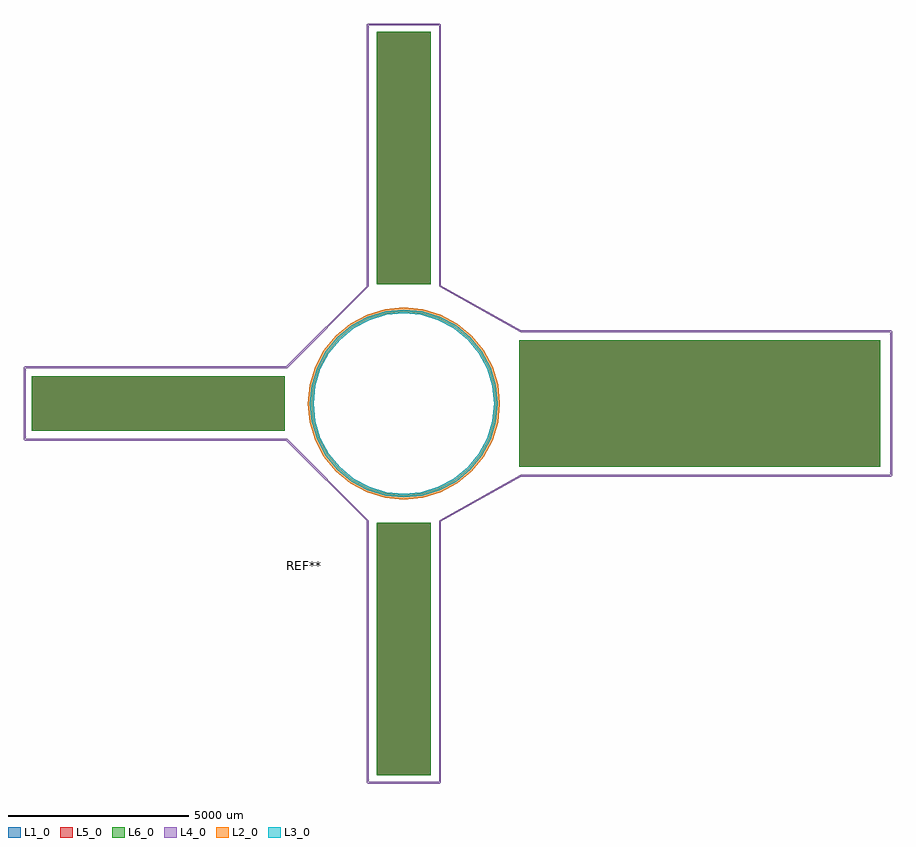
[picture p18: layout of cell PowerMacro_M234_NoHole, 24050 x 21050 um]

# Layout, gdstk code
import gdstk
lib = gdstk.Library(unit=1e-6, precision=1e-09)
def R(c, l, rs):  # rectangles x0, y0, x1, y1
    for r in rs: c.add(gdstk.rectangle(r[:2], r[2:], *l))
L1_0 = (1, 0)
L2_0 = (2, 0)
L3_0 = (3, 0)
L4_0 = (4, 0)
L5_0 = (5, 0)
L6_0 = (6, 0)

powermacro_m234_nohole = lib.new_cell('PowerMacro_M234_NoHole')
R(powermacro_m234_nohole, L1_0, [(-1450,-10300,50,-3300), (2500,-1750,12500,1750), (-11000,-750,-4000,750), (-1450,3300,50,10300)])
R(powermacro_m234_nohole, L5_0, [(-1450,-10300,50,-3300), (2500,-1750,12500,1750), (-11000,-750,-4000,750), (-1450,3300,50,10300)])
R(powermacro_m234_nohole, L6_0, [(-1450,-10300,50,-3300), (2500,-1750,12500,1750), (-11000,-750,-4000,750), (-1450,3300,50,10300)])
powermacro_m234_nohole.add(gdstk.FlexPath([(-11200,1000),(-3950,1000)], 50, ends="flush", simple_path=True, layer=4, datatype=0))  # L4_0
powermacro_m234_nohole.add(gdstk.FlexPath([(-3950,1000),(-1700,3250)], 50, ends="flush", simple_path=True, layer=4, datatype=0))  # L4_0
powermacro_m234_nohole.add(gdstk.FlexPath([(-1700,3250),(-1700,10500)], 50, ends="flush", simple_path=True, layer=4, datatype=0))  # L4_0
powermacro_m234_nohole.add(gdstk.FlexPath([(-1700,10500),(300,10500)], 50, ends="flush", simple_path=True, layer=4, datatype=0))  # L4_0
powermacro_m234_nohole.add(gdstk.FlexPath([(300,10500),(300,3250)], 50, ends="flush", simple_path=True, layer=4, datatype=0))  # L4_0
powermacro_m234_nohole.add(gdstk.FlexPath([(300,3250),(2550,2000)], 50, ends="flush", simple_path=True, layer=4, datatype=0))  # L4_0
powermacro_m234_nohole.add(gdstk.FlexPath([(2550,2000),(12800,2000)], 50, ends="flush", simple_path=True, layer=4, datatype=0))  # L4_0
powermacro_m234_nohole.add(gdstk.FlexPath([(12800,2000),(12800,-2000)], 50, ends="flush", simple_path=True, layer=4, datatype=0))  # L4_0
powermacro_m234_nohole.add(gdstk.FlexPath([(12800,-2000),(2550,-2000)], 50, ends="flush", simple_path=True, layer=4, datatype=0))  # L4_0
powermacro_m234_nohole.add(gdstk.FlexPath([(2550,-2000),(300,-3250)], 50, ends="flush", simple_path=True, layer=4, datatype=0))  # L4_0
powermacro_m234_nohole.add(gdstk.FlexPath([(300,-3250),(300,-10500)], 50, ends="flush", simple_path=True, layer=4, datatype=0))  # L4_0
powermacro_m234_nohole.add(gdstk.FlexPath([(300,-10500),(-1700,-10500)], 50, ends="flush", simple_path=True, layer=4, datatype=0))  # L4_0
powermacro_m234_nohole.add(gdstk.FlexPath([(-1700,-10500),(-1700,-3250)], 50, ends="flush", simple_path=True, layer=4, datatype=0))  # L4_0
powermacro_m234_nohole.add(gdstk.FlexPath([(-1700,-3250),(-3950,-1000)], 50, ends="flush", simple_path=True, layer=4, datatype=0))  # L4_0
powermacro_m234_nohole.add(gdstk.FlexPath([(-3950,-1000),(-11200,-1000)], 50, ends="flush", simple_path=True, layer=4, datatype=0))  # L4_0
powermacro_m234_nohole.add(gdstk.FlexPath([(-11200,-1000),(-11200,1000)], 50, ends="flush", simple_path=True, layer=4, datatype=0))  # L4_0
powermacro_m234_nohole.add(gdstk.FlexPath([(1850,0),(1801,497),(1656,976),(1420,1417),(1103,1803),(717,2120),(276,2356),(-203,2501),(-700,2550),(-1197,2501),(-1676,2356),(-2117,2120),(-2503,1803),(-2820,1417),(-3056,976),(-3201,497),(-3250,0),(-3201,-497),(-3056,-976),(-2820,-1417),(-2503,-1803),(-2117,-2120),(-1676,-2356),(-1197,-2501),(-700,-2550),(-203,-2501),(276,-2356),(717,-2120),(1103,-1803),(1420,-1417),(1656,-976),(1801,-497),(1850,0)], 100, ends="flush", simple_path=True, layer=3, datatype=0))  # L3_0
powermacro_m234_nohole.add(gdstk.FlexPath([(1900,0),(1850,507),(1702,995),(1462,1444),(1138,1838),(744,2162),(295,2402),(-193,2550),(-700,2600),(-1207,2550),(-1695,2402),(-2144,2162),(-2538,1838),(-2862,1444),(-3102,995),(-3250,507),(-3300,0),(-3250,-507),(-3102,-995),(-2862,-1444),(-2538,-1838),(-2144,-2162),(-1695,-2402),(-1207,-2550),(-700,-2600),(-193,-2550),(295,-2402),(744,-2162),(1138,-1838),(1462,-1444),(1702,-995),(1850,-507),(1900,0)], 120, ends="flush", simple_path=True, layer=2, datatype=0))  # L2_0
powermacro_m234_nohole.add(gdstk.Label('REF**', (-3450,-4500), layer=2, texttype=0))
powermacro_m234_nohole.add(gdstk.Label('PowerMacro_M234_NoHole', (13800,0), layer=3, texttype=0))
powermacro_m234_nohole.add(gdstk.Label('%R', (-3450,-4500), layer=3, texttype=0))

lib.write_gds('PowerMacro_M234_NoHole.gds')
